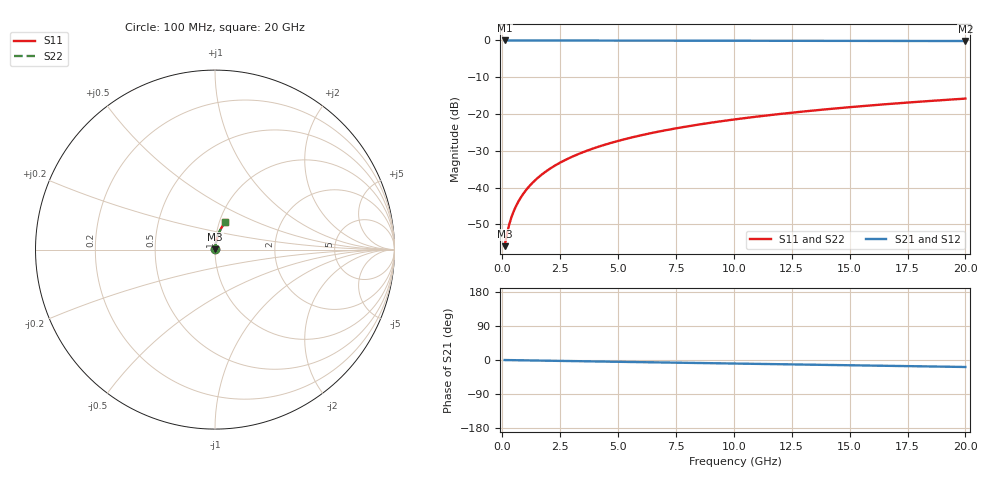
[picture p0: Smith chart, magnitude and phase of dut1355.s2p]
! Touchstone file exported from HFSS 2026.1.0
!  File:  C:/ffzhzh/LocalFiles/Ansys_Project_Files/temp_train_TMRDL_1355_1783165591_18472.aedt
!  Generated:  07:47:43 PM Jul  4, 2026
!  Design:  TMRDL
!  Project:  temp_train_TMRDL_1355_1783165591_18472
! Variables:
!  h_bsmrdl = 2um
!  h_ox = 20um
!  h_rdl = 5um
!  h_sub = 80um
!  h_tmrdl = 3.63um
!  h_tsv = 80um
!  h_via = 3um
!  l_bsmrdl = 300um
!  l_sub = 651.36um
!  l_tmrdl = 251.36um
!  m_sub = 200um
!  pitch = 43.83um
!  r_tsv = 6um
!  s_tmrdl = 10um
!  w_bsmrdl = 18um
!  w_sub = 500um
!  w_tmrdl = 23.69um
!  x_tsv_center1 = 263.205um
!  x_tsv_center2 = 581.205um
!  x_tsv_center3 = 856.255um
!  x_tsv_center4 = 1174.255um
!  x_tsv_center5 = 1449.305um
!  x_tsv_center6 = 1767.305um
# GHz S MA R 50.000000
! Terminal data exported
! Port[1] = TM_RDL1_1_T1
! Port[2] = TM_RDL1_1_T2
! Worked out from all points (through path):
!   200 points, 100 MHz to 20 GHz, reference 50 ohm
!   highest |S21| = -0.01 dB at 100 MHz (marker M1); lowest = -0.2 dB at 20 GHz (marker M2)
!   group delay of S21, straight-line fit = 2.56 ps
!   lowest |S11| = -55.9 dB at 100 MHz (marker M3), VSWR 1.00, Z = 50.1 + j0.098 ohm
!   |S11| at or under -10 dB: start of sweep to end of sweep
!   |S22| runs from -55.9 to -15.8 dB; largest |S21 - S12| = 3.2e-15
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0.1  0.001596 37.7  0.9987 -0.1  0.9987 -0.1  0.001596 37.7
! Gamma 0 0 0 0
! Port Impedance 50 0 50 0
0.2  0.002339 55.3  0.9987 -0.2  0.9987 -0.2  0.002339 55.2
0.3  0.003162 63.4  0.9986 -0.3  0.9986 -0.3  0.003161 63.4
0.4  0.003993 68.1  0.9985 -0.4  0.9985 -0.4  0.003992 68.0
0.5  0.004825 71.2  0.9985 -0.5  0.9985 -0.5  0.004822 71.1
0.6  0.005657 73.4  0.9984 -0.6  0.9984 -0.6  0.005654 73.4
0.8  0.00733 76.5  0.9984 -0.8  0.9984 -0.8  0.007327 76.5
1.1  0.009862 79.2  0.9983 -1.1  0.9983 -1.1  0.009859 79.2
1.3  0.01156 80.3  0.9983 -1.2  0.9983 -1.2  0.01156 80.3
1.6  0.01412 81.3  0.9982 -1.5  0.9982 -1.5  0.01412 81.3
2.1  0.0184 82.3  0.998 -2.0  0.998 -2.0  0.0184 82.3
2.7  0.02353 82.7  0.9978 -2.6  0.9978 -2.6  0.02353 82.7
3.5  0.03035 82.6  0.9974 -3.3  0.9974 -3.3  0.03035 82.6
4.2  0.03629 82.4  0.997 -4.0  0.997 -4.0  0.03629 82.4
5  0.04303 81.9  0.9965 -4.7  0.9965 -4.7  0.04303 81.9
5.9  0.05056 81.3  0.9959 -5.6  0.9959 -5.6  0.05056 81.3
6.8  0.05802 80.6  0.9953 -6.4  0.9953 -6.4  0.05802 80.6
8.3  0.07033 79.4  0.9941 -7.8  0.9941 -7.8  0.07033 79.4
10.1  0.08492 77.9  0.9925 -9.5  0.9925 -9.5  0.08491 77.9
13.4  0.1112 75.2  0.9892 -12.5  0.9892 -12.5  0.1112 75.2
16.7  0.1368 72.4  0.9854 -15.5  0.9854 -15.5  0.1368 72.4
20  0.1618 69.6  0.9812 -18.4  0.9812 -18.4  0.1618 69.6
